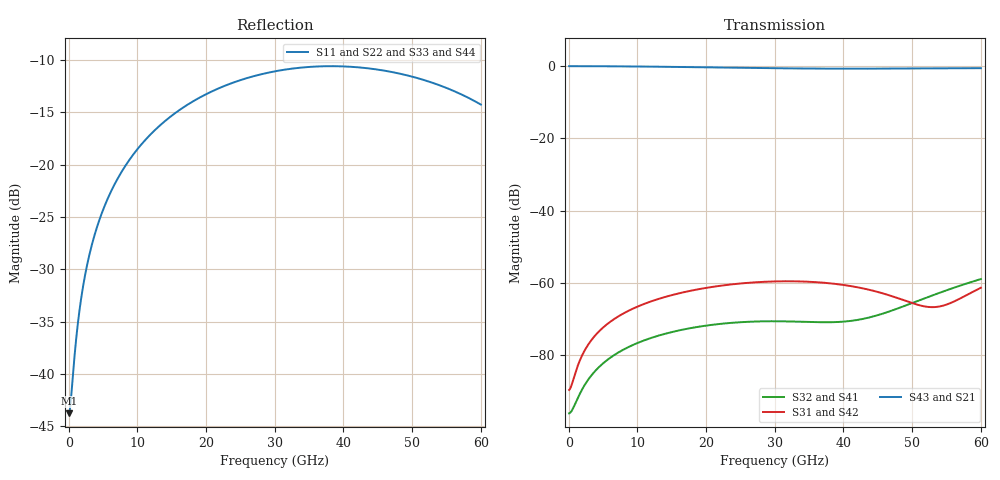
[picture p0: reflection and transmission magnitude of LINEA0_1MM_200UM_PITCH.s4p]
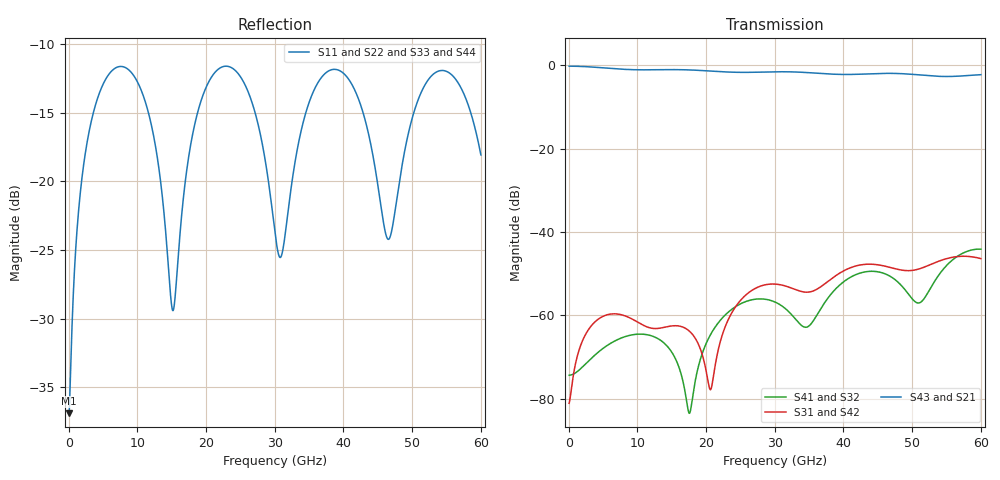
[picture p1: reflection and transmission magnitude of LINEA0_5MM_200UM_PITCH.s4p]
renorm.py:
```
"""Remove the 50-ohm port mismatch: re-express the CST S-matrices with
36.66-ohm reference impedance (about the line's own Zc) at all four ports."""
import numpy as np, matplotlib.pyplot as plt
from first_look_lib import load4

def renorm(S, z0=50.0, zr=36.66):
    I = np.eye(4)
    Z = z0*(I + S) @ np.linalg.inv(I - S)          # impedance matrix
    return (Z - zr*I) @ np.linalg.inv(Z + zr*I)     # S with new reference

db = lambda x: 20*np.log10(abs(x))
fig, ax = plt.subplots(1, 2, figsize=(11, 4.2))
for fn, lab, c in [("LINEA0_1MM_200UM_PITCH.s4p", "1 mm", "0.6"), ("LINEA0_5MM_200UM_PITCH.s4p", "5 mm", "k")]:
    f, S = load4(fn); G = f/1e9; Sr = renorm(S)
    for a, (r, name) in zip(ax, [(2, "NEXT S31"), (3, "FEXT S41")]):
        a.plot(G, db(S[:, r, 0]), color=c, lw=.8, ls=":", label=f"{lab}, 50 ohm ports (CST)")
        a.plot(G, db(Sr[:, r, 0]), color=c, lw=1.8, label=f"{lab}, 36.66 ohm ports (matched)")
        a.set_title(name); a.set_xlabel("Frequency (GHz)"); a.set_ylabel("dB"); a.grid(alpha=.3)
    k = lambda g: np.argmin(abs(G-g))
    print(lab, "matched: " + "  ".join(f"{g}GHz NEXT {db(Sr[k(g),2,0]):.1f} FEXT {db(Sr[k(g),3,0]):.1f}" for g in (1, 10, 15, 30, 60)))
ax[0].legend(fontsize=8)
plt.tight_layout(); plt.savefig("renorm.png", dpi=130)
```
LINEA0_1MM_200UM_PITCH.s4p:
! TOUCHSTONE file generated by CST MICROWAVE STUDIO
! Date and time: Wed Oct 14 10:40:22 2026
! Project name: LINEA0_1MM_200UM_PITCH.cst
! Parameters = {CHANNEL_PITCH=0.2; GAP=0.00415; L=1; L1=0.02; L2=0.086; L3=0.066; NCELL=1; PITCH=0.18; START_POSITION=0.08; W1=0.003; W2=0.004; W3=0.009; WG=0.04985; gap_oxr=0.00125; linbo3_thickness=0.0002; mtx=0.002; oxiDinE=0.0014; w=0.15; ws=0.035}
! Header version: 2024
! Port assignment regex: !\s*Touchstone port\s*([0-9]+)\s*=\s*(CST MWS port|CST DES external port|CST DES block port)\s*(.+)\s* \(\"(.*)\"\)(\s*mode\s*([0-9]+))?.*
! Touchstone port assignment:
! Touchstone port 1 = CST MWS port 1 ("")
! Touchstone port 2 = CST MWS port 2 ("")
! Touchstone port 3 = CST MWS port 3 ("")
! Touchstone port 4 = CST MWS port 4 ("")
# GHz S MA R 50
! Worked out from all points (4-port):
!   1000 points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, 60 MHz to 60 GHz, reference 50 ohm
!   strongest paths, dB at 60 MHz, 15.06 GHz, 30.06 GHz, 45.06 GHz, 60 GHz:
!     S43: -0.1, -0.3, -0.6, -0.7, -0.6
!     S21: -0.1, -0.3, -0.6, -0.7, -0.6
!     S31: -89.6, -63.4, -59.6, -62.6, -61.4
!     S42: -89.6, -63.4, -59.6, -62.6, -61.4
!     S32: -96.1, -73.6, -70.6, -68.9, -59.0
!     S41: -96.1, -73.6, -70.6, -68.9, -59.0
!   lowest |S11| = -43.7 dB at 60 MHz (marker M1), VSWR 1.01, Z = 50.6 - j0.0756 ohm
!   |S11| at or under -10 dB: start of sweep to end of sweep
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0.06  0.006495 -6.6  0.9921 -0.2  3.3e-05 4.9  1.566e-05 176.4
      0.9921 -0.2  0.006495 -6.6  1.566e-05 176.4  3.3e-05 4.9
      3.3e-05 4.9  1.566e-05 176.4  0.006485 -6.6  0.9921 -0.2
      1.566e-05 176.4  3.3e-05 4.9  0.9921 -0.2  0.006485 -6.6
15.36  0.175 -123.6  0.9694 -38.4  0.0006892 48.8  0.0002121 20.7
       0.9694 -38.4  0.175 -123.6  0.0002121 20.7  0.0006892 48.8
       0.0006892 48.8  0.0002121 20.7  0.1751 -123.6  0.9694 -38.4
       0.0002121 20.7  0.0006892 48.8  0.9694 -38.4  0.1751 -123.6
60  0.1937 137.7  0.9306 -141.3  0.0008552 27.8  0.001127 -105.1
    0.9306 -141.3  0.1937 137.7  0.001127 -105.1  0.0008552 27.8
    0.0008552 27.8  0.001127 -105.1  0.1939 137.7  0.9307 -141.2
    0.001127 -105.1  0.0008552 27.8  0.9307 -141.2  0.1939 137.7
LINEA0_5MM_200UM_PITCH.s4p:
! TOUCHSTONE file generated by CST MICROWAVE STUDIO
! Date and time: Thu Oct 15 09:16:29 2026
! Project name: LINEA0_5MM_200UM_PITCH.cst
! Parameters = {CHANNEL_PITCH=0.2; GAP=0.00415; L=5; L1=0.02; L2=0.086; L3=0.066; NCELL=1; PITCH=0.18; START_POSITION=0.08; W1=0.003; W2=0.004; W3=0.009; WG=0.04985; gap_oxr=0.00125; linbo3_thickness=0.0002; mtx=0.002; oxiDinE=0.0014; w=0.15; ws=0.035}
! Header version: 2024
! Port assignment regex: !\s*Touchstone port\s*([0-9]+)\s*=\s*(CST MWS port|CST DES external port|CST DES block port)\s*(.+)\s* \(\"(.*)\"\)(\s*mode\s*([0-9]+))?.*
! Touchstone port assignment:
! Touchstone port 1 = CST MWS port 1 ("")
! Touchstone port 2 = CST MWS port 2 ("")
! Touchstone port 3 = CST MWS port 3 ("")
! Touchstone port 4 = CST MWS port 4 ("")
# GHz S MA R 50
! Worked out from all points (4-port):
!   1000 points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, 60 MHz to 60 GHz, reference 50 ohm
!   strongest paths, dB at 60 MHz, 15.06 GHz, 30.06 GHz, 45.06 GHz, 60 GHz:
!     S43: -0.2, -1.0, -1.5, -1.9, -2.2
!     S21: -0.2, -1.0, -1.5, -2.0, -2.2
!     S31: -81.1, -62.5, -52.5, -47.9, -46.4
!     S42: -81.1, -62.5, -52.5, -47.9, -46.4
!     S41: -74.4, -69.0, -56.8, -49.6, -44.1
!     S32: -74.4, -69.0, -56.8, -49.6, -44.1
!   lowest |S11| = -36.9 dB at 60 MHz (marker M1), VSWR 1.03, Z = 51.4 - j0.352 ohm
!   |S11| at or under -10 dB: start of sweep to end of sweep
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0.06  0.01428 -13.9  0.9786 -0.8  8.818e-05 9.2  0.0001907 177.2
      0.9786 -0.8  0.01428 -13.9  0.0001907 177.2  8.818e-05 9.2
      8.81e-05 9.2  0.0001911 177.2  0.01426 -13.9  0.9786 -0.8
      0.0001911 177.2  8.81e-05 9.2  0.9786 -0.8  0.01426 -13.9
15.06  0.0343 176.1  0.8898 -178.9  0.0007479 -18.1  0.0003559 117.3
       0.8898 -178.9  0.0343 176.1  0.0003559 117.3  0.0007479 -18.1
       0.000748 -18.1  0.0003557 117.3  0.03434 175.7  0.89 -178.8
       0.0003557 117.3  0.000748 -18.1  0.89 -178.8  0.03434 175.7
60  0.125 146.1  0.7726 22.2  0.004802 -67.7  0.006239 -26.9
    0.7726 22.2  0.125 146.1  0.006239 -26.9  0.004802 -67.7
    0.004801 -67.7  0.006236 -26.9  0.1256 146.0  0.7733 22.3
    0.006236 -26.9  0.004801 -67.7  0.7733 22.3  0.1256 146.0
